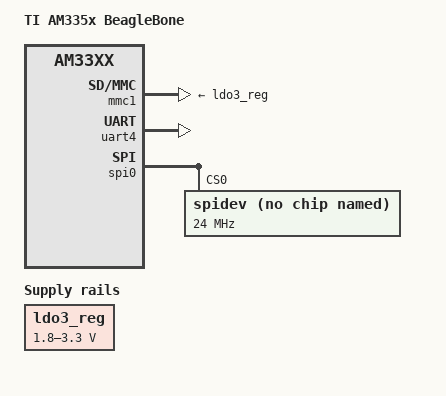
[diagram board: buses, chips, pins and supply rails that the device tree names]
/dts-v1/;

#include "am33xx.dtsi"
#include "am335x-bone-common.dtsi"

/ {
	model = "TI AM335x BeagleBone";
	compatible = "ti,am335x-bone", "ti,am33xx";
};

&ldo3_reg {
	regulator-min-microvolt = <1800000>;
	regulator-max-microvolt = <3300000>;
	regulator-always-on;
};

&mmc1 {
	vmmc-supply = <&ldo3_reg>;
};

&am33xx_pinmux {
	bb_uart4_pins: pinmux_bb_uart4_pins {
		/* 0x70 == P9.11 uart4_rx mode 6, 0x74 == P9.13 uart4_tx mode 6 */
		pinctrl-single,pins = <0x070 0x26>, <0x074 0x06>;
	};

	bb_spi0_pins: pinmux_bb_spi0_pins {
		/* 160 == P9.?? spi0_cs1 mode 0 */
		pinctrl-single,pins =
			<0x0150 0x30>, /* 150 == P9.22 spi0_sclk mode 0 (rx+tx), pullup */
			<0x0154 0x30>, /* 154 == P9.21 spi0_d0   mode 0 (miso), pullup */
			<0x0158 0x10>, /* 158 == P9.18 spi0_d1   mode 0 (mosi), pullup */
			<0x015C 0x10>  /* 15C == P9.18 spi0_cs0  mode 0 (ss), pullup */
			;
			/*
				6   - fast/slow slew rate (1 == slow)
				5   - receiver active (1 == enable)
				4   - pu or pd (1 == up)
				3   - pu/d enable (0 == enable)
				2-0 - mode
			*/
	};
};

&uart4 {
	status = "okay";
	pinctrl-names = "default";
	pinctrl-0 = <&bb_uart4_pins>;
};

&spi0 {
	#address-cells = <1>;
	#size-cells = <0>;
	status = "okay";
	pinctrl-names = "default";
	pinctrl-0 = <&bb_spi0_pins>;
	spidev@0 {
		spi-max-frequency = <24000000>;
		reg = <0>;
		compatible = "linux,spidev";
	};
};

